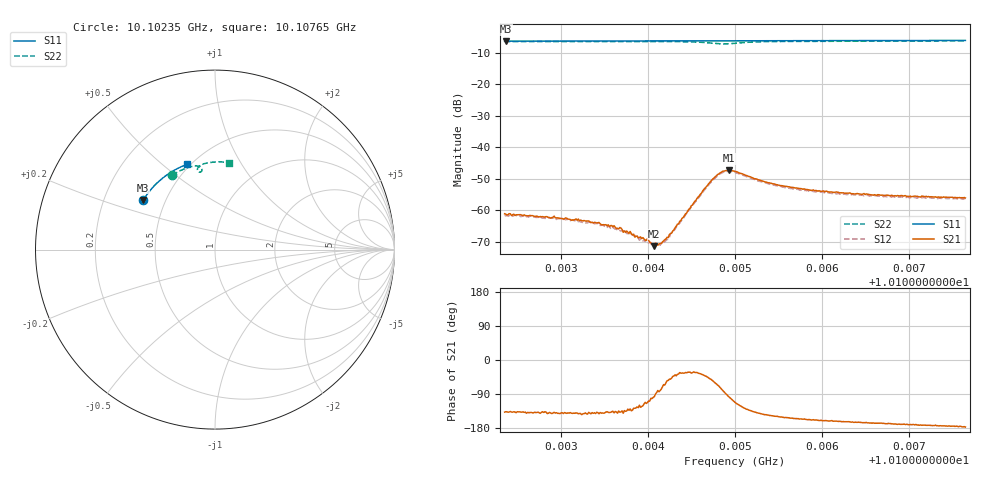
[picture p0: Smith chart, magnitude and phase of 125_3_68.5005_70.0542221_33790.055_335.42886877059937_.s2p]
#  HZ  S  RI  R  50.00
! Rohde & Schwarz Vector Network Analyzer
! Rohde-Schwarz,ZNB20-2Port,1311601062101988,3.16
! Created: UTC 3/20/2024, 5:09:17 PM
! freq[Hz]  re:S11  im:S11  re:S21  im:S21  re:S12  im:S12  re:S22  im:S22
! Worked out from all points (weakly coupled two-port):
!   401 points, 10.10235 GHz to 10.10765 GHz, reference 50 ohm
!   highest |S21| = -47.24 dB at 10.10494 GHz (marker M1); lowest = -71.2 dB at 10.10407 GHz (marker M2)
!   lowest |S11| = -6.3 dB at 10.10236 GHz (marker M3), VSWR 2.89, Z = 18.8 + j13.6 ohm
!   |S11| at or under -10 dB: nowhere
!   |S22| runs from -7.1 to -6.2 dB; largest |S21 - S12| = 0.00045
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1.010235e10  -0.4 0.2763  -0.000653 -0.000599  -0.000553 -0.000628  -0.237 0.4154
1.0102364e10  -0.3996 0.2767  -0.000635 -0.000603  -0.000544 -0.000613  -0.2362 0.416
1.0102987e10  -0.3783 0.3082  -0.000586 -0.000466  -0.000533 -0.000517  -0.2004 0.4362
1.0103238e10  -0.3689 0.3204  -0.000558 -0.000401  -0.000491 -0.000433  -0.1853 0.4435
1.0103398e10  -0.3629 0.328  -0.000502 -0.000403  -0.000437 -0.000439  -0.1755 0.4479
1.0103596e10  -0.355 0.3372  -0.000389 -0.000386  -0.000361 -0.000393  -0.1628 0.453
1.0103822e10  -0.3459 0.3473  -0.000276 -0.000304  -0.000238 -0.000329  -0.1477 0.4582
1.0103914e10  -0.3422 0.3514  -0.000216 -0.000311  -0.000186 -0.000299  -0.1412 0.4602
1.0104007e10  -0.3382 0.3555  -0.000106 -0.000321  -9.39e-05 -0.000292  -0.1346 0.462
1.0104074e10  -0.3356 0.3584  -3.08e-05 -0.000272  9.24e-06 -0.000271  -0.1297 0.4631
1.0104127e10  -0.3333 0.3607  3.16e-05 -0.000292  7.18e-05 -0.000291  -0.1257 0.464
1.0104166e10  -0.3315 0.3625  0.000102 -0.000299  0.000133 -0.000269  -0.1227 0.4646
1.0104219e10  -0.3293 0.3649  0.000216 -0.000306  0.000219 -0.000268  -0.1183 0.4652
1.0104524e10  -0.3158 0.3775  0.00111 -0.00068  0.00111 -0.000594  -0.0905 0.4643
1.0104736e10  -0.3062 0.3859  0.00183 -0.00244  0.00195 -0.00215  -0.0727 0.4467
1.0104842e10  -0.3013 0.39  0.000981 -0.0039  0.00131 -0.00366  -0.0786 0.4329
1.0104935e10  -0.2971 0.3936  -0.000605 -0.0043  -0.000205 -0.00417  -0.0917 0.4332
1.0105001e10  -0.2941 0.3961  -0.00155 -0.00387  -0.00111 -0.00387  -0.097 0.4406
1.0105412e10  -0.2745 0.4113  -0.00226 -0.00149  -0.00202 -0.00162  -0.0744 0.4733
1.010589e10  -0.2505 0.4278  -0.00194 -0.000771  -0.0018 -0.000926  -0.0391 0.4837
1.0106778e10  -0.2036 0.4542  -0.00168 -0.000365  -0.00159 -0.000479  0.021 0.4886
1.0107652e10  -0.155 0.4748  -0.00158 -8.53e-05  -0.00152 -0.000268  0.0778 0.4851
